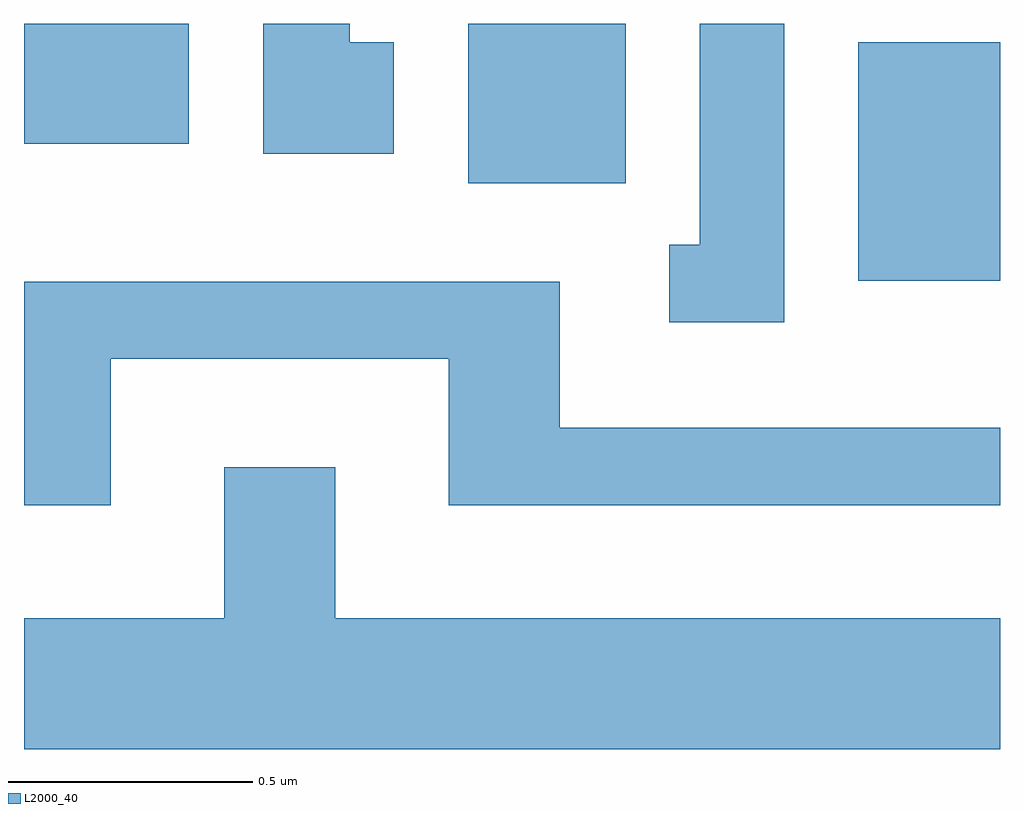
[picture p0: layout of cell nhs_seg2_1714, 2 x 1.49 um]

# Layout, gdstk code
import gdstk
lib = gdstk.Library(unit=1e-6, precision=1e-09)
def R(c, l, rs):  # rectangles x0, y0, x1, y1
    for r in rs: c.add(gdstk.rectangle(r[:2], r[2:], *l))
def P(c, l, *ps):  # polygons
    for p in ps: c.add(gdstk.Polygon(p, *l))
L2000_40 = (2000, 40)

nhs_seg2_1714 = lib.new_cell('nhs_seg2_1714')
R(nhs_seg2_1714, L2000_40, [(199.321,1049.276,199.611,1049.764), (198.521,1049.476,198.844,1049.802), (197.611,1049.556,197.949,1049.802)])
P(nhs_seg2_1714, L2000_40, [(199.169,1049.802),(198.996,1049.802),(198.996,1049.349),(198.933,1049.349),(198.933,1049.191),(199.169,1049.191)],
  [(198.369,1049.764),(198.279,1049.764),(198.279,1049.802),(198.101,1049.802),(198.101,1049.536),(198.369,1049.536)],
  [(197.789,1049.116),(198.481,1049.116),(198.481,1048.816),(199.611,1048.816),(199.611,1048.974),(198.709,1048.974),(198.709,1049.274),(197.611,1049.274),(197.611,1048.816),(197.789,1048.816)],
  [(199.611,1048.584),(198.249,1048.584),(198.249,1048.894),(198.021,1048.894),(198.021,1048.584),(197.611,1048.584),(197.611,1048.316),(199.611,1048.316)])

lib.write_gds('nhs_seg2_1714.gds')
